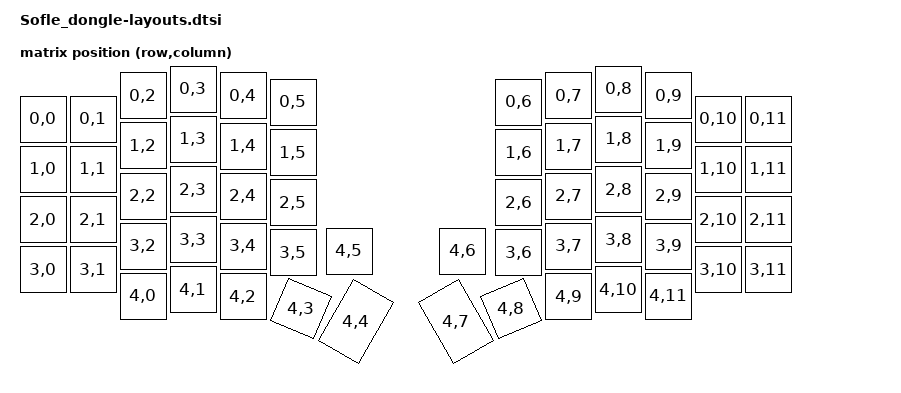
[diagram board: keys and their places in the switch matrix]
/*
 * Copyright (c) 2020 Pete Johanson, Ryan Cross
 *
 * SPDX-License-Identifier: MIT
 */

#include <dt-bindings/zmk/matrix_transform.h>
#include <physical_layouts.dtsi>

/ {
    default_transform: keymap_transform_0 {
        compatible = "zmk,matrix-transform";
        columns = <16>;
        rows = <5>;
// | SW6  | SW5  | SW4  | SW3  | SW2  | SW1  |                 | SW1  | SW2  | SW3  | SW4  | SW5  | SW6  |
// | SW12 | SW11 | SW10 | SW9  | SW8  | SW7  |                 | SW7  | SW8  | SW9  | SW10 | SW11 | SW12 |
// | SW18 | SW17 | SW16 | SW15 | SW14 | SW13 |                 | SW13 | SW14 | SW15 | SW16 | SW17 | SW18 |
// | SW24 | SW23 | SW22 | SW21 | SW20 | SW19 | SW25 |   | SW25 | SW19 | SW20 | SW21 | SW22 | SW23 | SW24 |
//               | SW30 | SW29 | SW28 | SW27 | SW26 |   | SW26 | SW27 | SW28 | SW29 | SW30 |
        map = <
RC(0,0) RC(0,1) RC(0,2) RC(0,3) RC(0,4) RC(0,5)                 RC(0,6) RC(0,7) RC(0,8)  RC(0,9) RC(0,10) RC(0,11)
RC(1,0) RC(1,1) RC(1,2) RC(1,3) RC(1,4) RC(1,5)                 RC(1,6) RC(1,7) RC(1,8)  RC(1,9) RC(1,10) RC(1,11)
RC(2,0) RC(2,1) RC(2,2) RC(2,3) RC(2,4) RC(2,5)                 RC(2,6) RC(2,7) RC(2,8)  RC(2,9) RC(2,10) RC(2,11)
RC(3,0) RC(3,1) RC(3,2) RC(3,3) RC(3,4) RC(3,5) RC(4,5) RC(4,6) RC(3,6) RC(3,7) RC(3,8)  RC(3,9) RC(3,10) RC(3,11)
                RC(4,0) RC(4,1) RC(4,2) RC(4,3) RC(4,4) RC(4,7) RC(4,8) RC(4,9) RC(4,10) RC(4,11)
        >;
    };

    layout_0: layout_0 {
        compatible = "zmk,physical-layout";
        display-name = "LAYOUT";
        transform = <&default_transform>;

        keys  //                     w   h    x    y     rot    rx    ry
            = <&key_physical_attrs 100 100    0   60       0     0     0>
            , <&key_physical_attrs 100 100  100   60       0     0     0>
            , <&key_physical_attrs 100 100  200   13       0     0     0>
            , <&key_physical_attrs 100 100  300    0       0     0     0>
            , <&key_physical_attrs 100 100  400   13       0     0     0>
            , <&key_physical_attrs 100 100  500   26       0     0     0>
            , <&key_physical_attrs 100 100  951   26       0     0     0>
            , <&key_physical_attrs 100 100 1051   13       0     0     0>
            , <&key_physical_attrs 100 100 1151    0       0     0     0>
            , <&key_physical_attrs 100 100 1251   13       0     0     0>
            , <&key_physical_attrs 100 100 1351   60       0     0     0>
            , <&key_physical_attrs 100 100 1451   60       0     0     0>
            , <&key_physical_attrs 100 100    0  160       0     0     0>
            , <&key_physical_attrs 100 100  100  160       0     0     0>
            , <&key_physical_attrs 100 100  200  113       0     0     0>
            , <&key_physical_attrs 100 100  300  100       0     0     0>
            , <&key_physical_attrs 100 100  400  114       0     0     0>
            , <&key_physical_attrs 100 100  500  127       0     0     0>
            , <&key_physical_attrs 100 100  951  127       0     0     0>
            , <&key_physical_attrs 100 100 1051  114       0     0     0>
            , <&key_physical_attrs 100 100 1151  100       0     0     0>
            , <&key_physical_attrs 100 100 1251  113       0     0     0>
            , <&key_physical_attrs 100 100 1351  160       0     0     0>
            , <&key_physical_attrs 100 100 1451  160       0     0     0>
            , <&key_physical_attrs 100 100    0  261       0     0     0>
            , <&key_physical_attrs 100 100  100  261       0     0     0>
            , <&key_physical_attrs 100 100  200  214       0     0     0>
            , <&key_physical_attrs 100 100  300  201       0     0     0>
            , <&key_physical_attrs 100 100  400  214       0     0     0>
            , <&key_physical_attrs 100 100  500  227       0     0     0>
            , <&key_physical_attrs 100 100  951  227       0     0     0>
            , <&key_physical_attrs 100 100 1051  214       0     0     0>
            , <&key_physical_attrs 100 100 1151  201       0     0     0>
            , <&key_physical_attrs 100 100 1251  214       0     0     0>
            , <&key_physical_attrs 100 100 1351  261       0     0     0>
            , <&key_physical_attrs 100 100 1451  261       0     0     0>
            , <&key_physical_attrs 100 100    0  361       0     0     0>
            , <&key_physical_attrs 100 100  100  361       0     0     0>
            , <&key_physical_attrs 100 100  200  314       0     0     0>
            , <&key_physical_attrs 100 100  300  301       0     0     0>
            , <&key_physical_attrs 100 100  400  314       0     0     0>
            , <&key_physical_attrs 100 100  500  327       0     0     0>
            , <&key_physical_attrs 100 100  612  324       0     0     0>
            , <&key_physical_attrs 100 100  839  324       0     0     0>
            , <&key_physical_attrs 100 100  951  327       0     0     0>
            , <&key_physical_attrs 100 100 1051  314       0     0     0>
            , <&key_physical_attrs 100 100 1151  301       0     0     0>
            , <&key_physical_attrs 100 100 1251  314       0     0     0>
            , <&key_physical_attrs 100 100 1351  361       0     0     0>
            , <&key_physical_attrs 100 100 1451  361       0     0     0>
            , <&key_physical_attrs 100 100  200  414       0     0     0>
            , <&key_physical_attrs 100 100  300  401       0     0     0>
            , <&key_physical_attrs 100 100  400  415       0     0     0>
            , <&key_physical_attrs 100 100  516  439    2300   566   489>
            , <&key_physical_attrs 100 150  626  440    3000   676   515>
            , <&key_physical_attrs 100 150  826  440 (-3000)   876   515>
            , <&key_physical_attrs 100 100  936  439 (-2300)   986   489>
            , <&key_physical_attrs 100 100 1051  415       0     0     0>
            , <&key_physical_attrs 100 100 1151  401       0     0     0>
            , <&key_physical_attrs 100 100 1251  414       0     0     0>
            ;
    };
};
